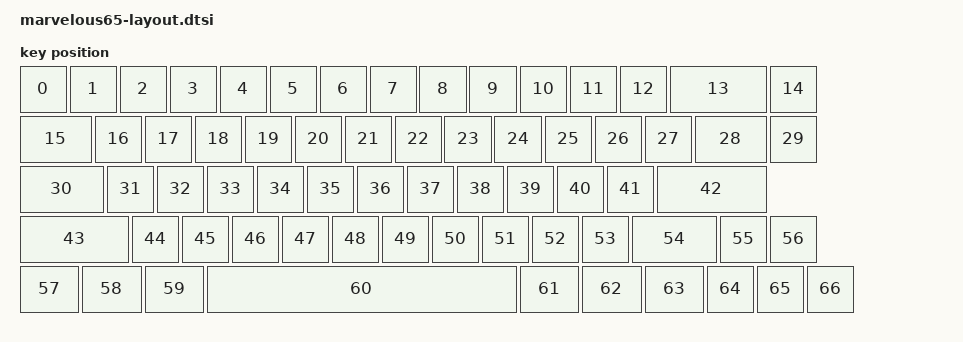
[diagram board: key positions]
/*
 * Copyright (c) 2024 Ujang Karnadi
 *
 * SPDX-License-Identifier: MIT
 *
 * Marvelous65 physical layout (used by ZMK Studio).
 *
 * Single 65% ANSI layout matching boards/arm/marvelous65/marvelous65.json.
 * Key positions are in centi-mm × 10 (so 100 = 1u / 19.05 mm). Total 69
 * physical keys + 1 encoder, matching the matrix positions referenced
 * in marvelous65.keymap.
 */

#include <physical_layouts.dtsi>

/ {
    layout0: layout_0 {
        compatible = "zmk,physical-layout";
        display-name = "65% ANSI";
        transform = <&default_transform>;

        keys //                      w    h    x    y    rot    rx    ry
            // Row 0: ESC 1 2 3 4 5 6 7 8 9 0 - = BKSP(2u) DEL(1u) [ENC slot, unused]
            = <&key_physical_attrs 100 100    0    0     0     0     0>
            , <&key_physical_attrs 100 100  100    0     0     0     0>
            , <&key_physical_attrs 100 100  200    0     0     0     0>
            , <&key_physical_attrs 100 100  300    0     0     0     0>
            , <&key_physical_attrs 100 100  400    0     0     0     0>
            , <&key_physical_attrs 100 100  500    0     0     0     0>
            , <&key_physical_attrs 100 100  600    0     0     0     0>
            , <&key_physical_attrs 100 100  700    0     0     0     0>
            , <&key_physical_attrs 100 100  800    0     0     0     0>
            , <&key_physical_attrs 100 100  900    0     0     0     0>
            , <&key_physical_attrs 100 100 1000    0     0     0     0>
            , <&key_physical_attrs 100 100 1100    0     0     0     0>
            , <&key_physical_attrs 100 100 1200    0     0     0     0>
            , <&key_physical_attrs 200 100 1300    0     0     0     0>
            , <&key_physical_attrs 100 100 1500    0     0     0     0>

            // Row 1: TAB(1.5u) Q W E R T Y U I O P [ ] \(1.5u) [ENC slot]
            , <&key_physical_attrs 150 100    0  100     0     0     0>
            , <&key_physical_attrs 100 100  150  100     0     0     0>
            , <&key_physical_attrs 100 100  250  100     0     0     0>
            , <&key_physical_attrs 100 100  350  100     0     0     0>
            , <&key_physical_attrs 100 100  450  100     0     0     0>
            , <&key_physical_attrs 100 100  550  100     0     0     0>
            , <&key_physical_attrs 100 100  650  100     0     0     0>
            , <&key_physical_attrs 100 100  750  100     0     0     0>
            , <&key_physical_attrs 100 100  850  100     0     0     0>
            , <&key_physical_attrs 100 100  950  100     0     0     0>
            , <&key_physical_attrs 100 100 1050  100     0     0     0>
            , <&key_physical_attrs 100 100 1150  100     0     0     0>
            , <&key_physical_attrs 100 100 1250  100     0     0     0>
            , <&key_physical_attrs 150 100 1350  100     0     0     0>
            , <&key_physical_attrs 100 100 1500  100     0     0     0>

            // Row 2: CAPS(1.75u) A S D F G H J K L ; ' ENTER(2.25u)
            , <&key_physical_attrs 175 100    0  200     0     0     0>
            , <&key_physical_attrs 100 100  175  200     0     0     0>
            , <&key_physical_attrs 100 100  275  200     0     0     0>
            , <&key_physical_attrs 100 100  375  200     0     0     0>
            , <&key_physical_attrs 100 100  475  200     0     0     0>
            , <&key_physical_attrs 100 100  575  200     0     0     0>
            , <&key_physical_attrs 100 100  675  200     0     0     0>
            , <&key_physical_attrs 100 100  775  200     0     0     0>
            , <&key_physical_attrs 100 100  875  200     0     0     0>
            , <&key_physical_attrs 100 100  975  200     0     0     0>
            , <&key_physical_attrs 100 100 1075  200     0     0     0>
            , <&key_physical_attrs 100 100 1175  200     0     0     0>
            , <&key_physical_attrs 225 100 1275  200     0     0     0>

            // Row 3: LSFT(2.25u) \ Z X C V B N M , . / RSFT(1.75u) UP
            , <&key_physical_attrs 225 100    0  300     0     0     0>
            , <&key_physical_attrs 100 100  225  300     0     0     0>
            , <&key_physical_attrs 100 100  325  300     0     0     0>
            , <&key_physical_attrs 100 100  425  300     0     0     0>
            , <&key_physical_attrs 100 100  525  300     0     0     0>
            , <&key_physical_attrs 100 100  625  300     0     0     0>
            , <&key_physical_attrs 100 100  725  300     0     0     0>
            , <&key_physical_attrs 100 100  825  300     0     0     0>
            , <&key_physical_attrs 100 100  925  300     0     0     0>
            , <&key_physical_attrs 100 100 1025  300     0     0     0>
            , <&key_physical_attrs 100 100 1125  300     0     0     0>
            , <&key_physical_attrs 175 100 1225  300     0     0     0>
            , <&key_physical_attrs 100 100 1400  300     0     0     0>
            , <&key_physical_attrs 100 100 1500  300     0     0     0>

            // Row 4: LCTL(1.25u) LALT(1.25u) LGUI(1.25u) SPC(6.25u) RGUI(1.25u) MO2(1.25u) RCTL(1.25u) LEFT DOWN RIGHT
            , <&key_physical_attrs 125 100    0  400     0     0     0>
            , <&key_physical_attrs 125 100  125  400     0     0     0>
            , <&key_physical_attrs 125 100  250  400     0     0     0>
            , <&key_physical_attrs 625 100  375  400     0     0     0>
            , <&key_physical_attrs 125 100 1000  400     0     0     0>
            , <&key_physical_attrs 125 100 1125  400     0     0     0>
            , <&key_physical_attrs 125 100 1250  400     0     0     0>
            , <&key_physical_attrs 100 100 1375  400     0     0     0>
            , <&key_physical_attrs 100 100 1475  400     0     0     0>
            , <&key_physical_attrs 100 100 1575  400     0     0     0>
            ;

        sensors: sensors {
            compatible = "zmk,keymap-sensors";
            sensors = <&left_encoder>;
            triggers-per-rotation = <20>;
        };
    };
};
